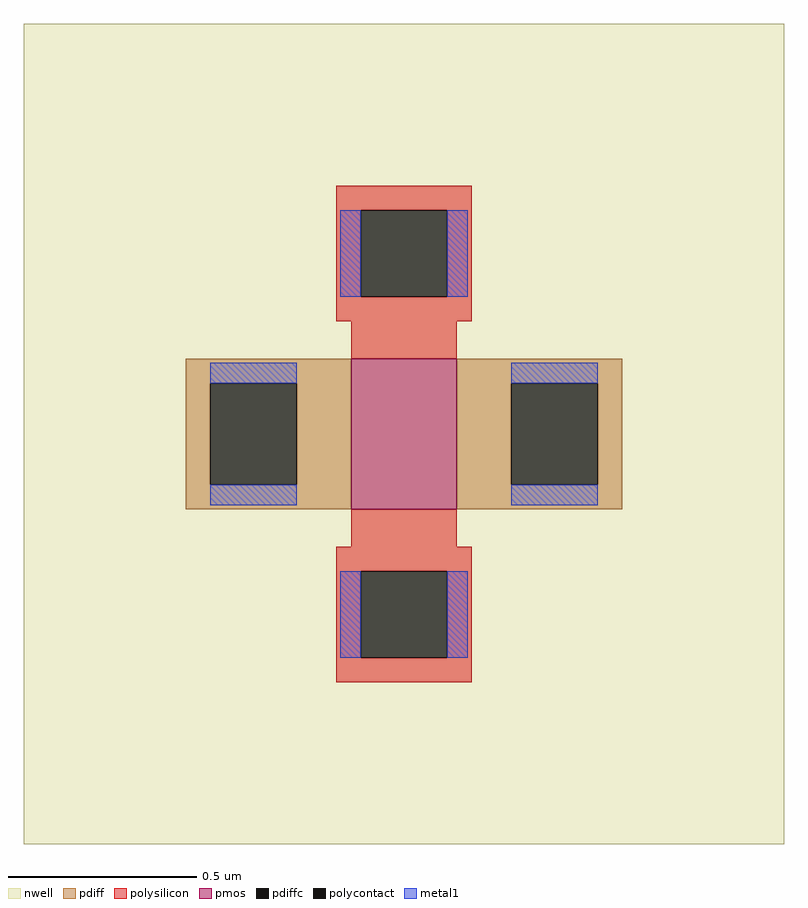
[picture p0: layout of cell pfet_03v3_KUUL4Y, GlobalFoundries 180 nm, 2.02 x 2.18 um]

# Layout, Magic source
magic
tech gf180mcuD
magscale 1 10
<< nwell >>
rect -202 -218 202 218
<< pmos >>
rect -28 -40 28 40
<< pdiff >>
rect -116 27 -28 40
rect -116 -27 -103 27
rect -57 -27 -28 27
rect -116 -40 -28 -27
rect 28 27 116 40
rect 28 -27 57 27
rect 103 -27 116 27
rect 28 -40 116 -27
<< pdiffc >>
rect -103 -27 -57 27
rect 57 -27 103 27
<< polysilicon >>
rect -36 119 36 132
rect -36 73 -23 119
rect 23 73 36 119
rect -36 60 36 73
rect -28 40 28 60
rect -28 -60 28 -40
rect -36 -73 36 -60
rect -36 -119 -23 -73
rect 23 -119 36 -73
rect -36 -132 36 -119
<< polycontact >>
rect -23 73 23 119
rect -23 -119 23 -73
<< metal1 >>
rect -34 73 -23 119
rect 23 73 34 119
rect -103 27 -57 38
rect -103 -38 -57 -27
rect 57 27 103 38
rect 57 -38 103 -27
rect -34 -119 -23 -73
rect 23 -119 34 -73
<< properties >>
string gencell pfet_03v3
string library gf180mcu
string parameters w 0.4 l 0.28 m 1 nf 1 diffcov 100 polycov 100 guard 0 glc 1 grc 1 gtc 0 gbc 0 tbcov 100 rlcov 100 topc 1 botc 1 poverlap 0 doverlap 1 lmin 0.28 wmin 0.22 class mosfet full_metal 0 compatible {pfet_03v3 pfet_06v0}
<< end >>
